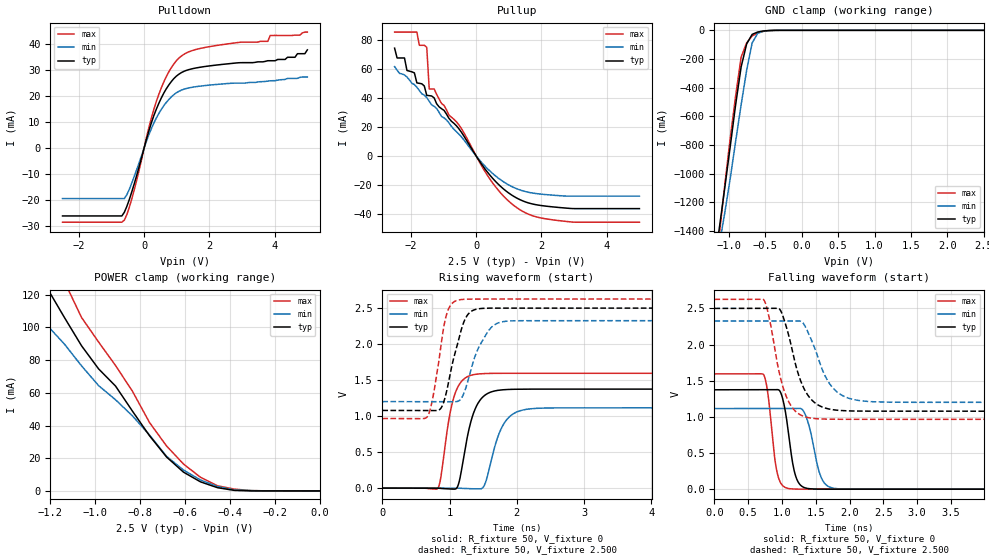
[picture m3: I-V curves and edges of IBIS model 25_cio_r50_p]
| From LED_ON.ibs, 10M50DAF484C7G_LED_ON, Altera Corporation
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|MODEL 25_cio_r50_p
[Model]   25_cio_r50_p
Model_type   I/O
Polarity   Non-Inverting
Enable Active-Low
Vinl   = 0.700
Vinh   = 1.700
Vmeas  = 1.250
Rref   = 10M
Cref   = 0pF
Vref   = 0.000
C_comp 4.5pF   4.5pF   4.5pF
[Model Spec]
Vinh   1.700   1.700   1.700
Vinl   0.700   0.700   0.700
[Temperature Range]   25   85   0
[Voltage Range]   2.500   2.325   2.625
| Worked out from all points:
|   slope of the pulldown table from 0 to 0.375 V, typ, clamps not added: 25.2 ohm
|   slope of the pullup table from 0 to 0.375 V, typ, clamps not added: 31.4 ohm
|   GND clamp passes 1 mA (typ) near -0.44 V on its own axis
|   POWER clamp passes 1 mA (typ) near -0.41 V on its own axis
|   rising waveform, R_fixture 50, V_fixture 0: 20-80 % time 199ps typ, 228ps min, 173ps max; typ from 0 V to 1.37 V
|   falling waveform, R_fixture 50, V_fixture 0: 20-80 % time 131ps typ, 160ps min, 112ps max; typ from 1.37 V to 0 V
|   rising waveform, R_fixture 50, V_fixture 2.500: 20-80 % time 219ps typ, 268ps min, 165ps max; typ from 1.08 V to 2.5 V
|   falling waveform, R_fixture 50, V_fixture 2.500: 20-80 % time 268ps typ, 312ps min, 229ps max; typ from 2.5 V to 1.08 V
[GND Clamp]
| voltage   I (typ)   I (min)   I (max)
-2.5V     -5.91A     -5.381A    -6.902A
-1.136V   -1.393A    -1.507A    -1.443A
-1.061V   -1.109A    -1.281A    -1.09A
-984.9mV  -816.5mA   -1.039A    -759.1mA
-909.1mV  -519.5mA   -775.8mA   -457.9mA
-833.3mV  -255.4mA   -519.5mA   -186.8mA
-757.6mV  -94.85mA   -278.6mA   -87.18mA
-681.8mV  -28.16mA   -88.05mA   -39.36mA
-606.1mV  -11.9mA    -20.93mA   -18.07mA
-530.3mV  -4.732mA   -6.89mA    -7.206mA
-454.6mV  -1.272mA   -1.883mA   -2.74mA
2.5V      0A         0A         0A
[Pulldown]
| voltage   I (typ)   I (min)   I (max)
-2.5V     -26.09mA   -19.43mA   -28.49mA
-681.8mV  -26.09mA   -19.43mA   -28.49mA
-606.1mV  -24.69mA   -19.43mA   -27.68mA
-303mV    -13.76mA   -10.94mA   -16.08mA
151.5mV   6.824mA    5.264mA    8.147mA
378.8mV   15.03mA    11.59mA    18.05mA
757.6mV   24.19mA    18.61mA    29.24mA
1.136V    28.87mA    22.15mA    35.23mA
1.818V    31.17mA    23.88mA    38.45mA
3.788V    33.48mA    25.63mA    40.91mA
4.318V    33.96mA    26.3mA     43.18mA
5V        37.64mA    27.25mA    44.47mA
[Power Clamp]
| voltage   I (typ)   I (min)   I (max)
-2.5V     372.2mA    294.9mA    435mA
-1.364V   144.9mA    122.3mA    171.2mA
-1.212V   123.6mA    101mA      146.3mA
-1.136V   105.9mA    89.7mA     127.9mA
-984.9mV  74.66mA    64.41mA    91.08mA
-909.1mV  64.11mA    55.73mA    76.67mA
-757.6mV  33.71mA    34.13mA    41.77mA
-681.8mV  20.74mA    21.14mA    27.47mA
-606.1mV  11.45mA    12.73mA    16.41mA
-530.3mV  5.533mA    6.673mA    8.311mA
-378.8mV  308.8uA    639.7uA    1.08mA
0V        0A         0A         0A
[Pullup]
| voltage   I (typ)   I (min)   I (max)
-2.5V     74.47mA    61.74mA    85.59mA
-2.121V   59.1mA     54.55mA    85.59mA
-1.894V   57.43mA    49.36mA    85.59mA
-1.818V   50.51mA    47.5mA     85.59mA
-1.742V   50.2mA     45.22mA    76.48mA
-1.515V   41.93mA    40.31mA    75.04mA
-1.439V   41.7mA     37.88mA    46.35mA
-454.6mV  16.48mA    13.28mA    19.07mA
303mV     -9.906mA   -7.762mA   -11.9mA
1.136V    -27.63mA   -21.54mA   -33.84mA
2.349V    -35.1mA    -27.01mA   -44.05mA
5V        -36.29mA   -27.68mA   -45.66mA
[Ramp]
dV/dt_r   8.247e-01/1.987e-10 6.688e-01/2.280e-10 9.565e-01/1.725e-10
dV/dt_f   8.530e-01/2.683e-10 6.743e-01/3.122e-10 9.953e-01/2.285e-10
R_load = 50ohms
[Rising Waveform]
R_fixture   = 50
V_fixture   = 0
V_fixture_min = 0
V_fixture_max = 0
| time   V (typ)   V (min)   V (max)
0s        48.43nV    749.6nV    73.35nV
825ps     -1.107mV   17.82uV    -3.567mV
873.6ps   -4.302mV   33.16uV    170.5mV
1.005ns   -11.26mV   84.51uV    1.031V
1.116ns   14.88mV    -1.167mV   1.391V
1.345ns   1.01V      -10.09mV   1.573V
1.518ns   1.284V     39.84mV    1.59V
1.81ns    1.366V     896.2mV    1.594V
2.101ns   1.374V     1.086V     1.594V
6.926ns   1.375V     1.115V     1.594V
[Falling Waveform]
R_fixture   = 50
V_fixture   = 0
V_fixture_min = 0
V_fixture_max = 0
| time   V (typ)   V (min)   V (max)
0s        1.375V     1.115V     1.594V
730.7ps   1.375V     1.115V     1.578V
923.8ps   1.377V     1.115V     246.4mV
1.082ns   868.5mV    1.115V     12.1mV
1.172ns   288.7mV    1.115V     2.275mV
1.255ns   75.75mV    1.118V     488.8uV
1.379ns   9.783mV    941.7mV    55.2uV
1.579ns   389.3uV    163.1mV    1.72uV
1.758ns   24.11uV    14.11mV    -77.66nV
6.887ns   1.355uV    1.111uV    1.593uV
[Rising Waveform]
R_fixture   = 50
V_fixture   = 2.500
V_fixture_min   = 2.325
V_fixture_max   = 2.625
| time   V (typ)   V (min)   V (max)
0s        1.078V     1.201V     966mV
672.5ps   1.077V     1.201V     996.4mV
755.7ps   1.076V     1.201V     1.278V
866.6ps   1.103V     1.201V     1.941V
942.9ps   1.293V     1.2V       2.368V
1.123ns   2.017V     1.206V     2.61V
1.31ns    2.446V     1.615V     2.624V
1.553ns   2.498V     2.148V     2.625V
1.775ns   2.5V       2.307V     2.625V
6.926ns   2.5V       2.325V     2.625V
[Falling Waveform]
R_fixture   = 50
V_fixture   = 2.500
V_fixture_min   = 2.325
V_fixture_max   = 2.625
| time   V (typ)   V (min)   V (max)
0s        2.5V       2.325V     2.625V
730.7ps   2.5V       2.325V     2.618V
813.5ps   2.5V       2.325V     2.356V
958.2ps   2.495V     2.325V     1.614V
1.041ns   2.314V     2.325V     1.335V
1.234ns   1.612V     2.326V     1.05V
1.358ns   1.335V     2.222V     996mV
1.703ns   1.107V     1.46V      967.7mV
2.068ns   1.081V     1.238V     966.1mV
6.887ns   1.078V     1.201V     966mV
